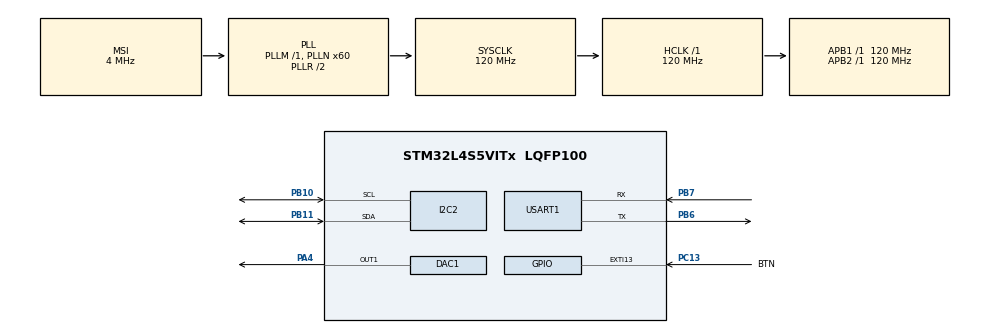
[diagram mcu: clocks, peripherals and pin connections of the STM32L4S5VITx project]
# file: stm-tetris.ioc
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DAC1.DAC_Trigger-DAC_OUT1=DAC_TRIGGER_T2_TRGO
Dma.DAC1_CH1.0.Direction=DMA_MEMORY_TO_PERIPH
Dma.DAC1_CH1.0.EventEnable=DISABLE
Dma.DAC1_CH1.0.Instance=DMA1_Channel1
Dma.DAC1_CH1.0.MemDataAlignment=DMA_MDATAALIGN_HALFWORD
Dma.DAC1_CH1.0.MemInc=DMA_MINC_ENABLE
Dma.DAC1_CH1.0.Mode=DMA_CIRCULAR
Dma.DAC1_CH1.0.PeriphDataAlignment=DMA_PDATAALIGN_HALFWORD
Dma.DAC1_CH1.0.PeriphInc=DMA_PINC_DISABLE
Dma.DAC1_CH1.0.Polarity=HAL_DMAMUX_REQUEST_GEN_RISING
Dma.DAC1_CH1.0.Priority=DMA_PRIORITY_LOW
Dma.DAC1_CH1.0.RequestNumber=1
Dma.DAC1_CH1.0.SignalID=NONE
Dma.DAC1_CH1.0.SyncEnable=DISABLE
Dma.DAC1_CH1.0.SyncPolarity=HAL_DMAMUX_SYNC_NO_EVENT
Dma.DAC1_CH1.0.SyncRequestNumber=1
Dma.DAC1_CH1.0.SyncSignalID=NONE
Dma.Request0=DAC1_CH1
FREERTOS.INCLUDE_vTaskDelayUntil=1
FREERTOS.configTOTAL_HEAP_SIZE=8192
FREERTOS.Mutexes01=gameStateMutex,Dynamic,NULL,Available
FREERTOS.Queues01=inputQueue,16,uint32_t,0,Dynamic,NULL,NULL;audioQueue,8,uint32_t,0,Dynamic,NULL,NULL
FREERTOS.Tasks01=gameStateTask,1,128,StartGameStateTask,Default,NULL,Dynamic,NULL,NULL;playAudioTask,-1,128,StartPlayAudioTask,Default,NULL,Dynamic,NULL,NULL;drawGridTask,0,128,StartDrawGridTask,Default,NULL,Dynamic,NULL,NULL;pollAcceleroTas,0,128,StartPollAcceleroTask,Default,NULL,Dynamic,NULL,NULL
FREERTOS.configUSE_NEWLIB_REENTRANT=1
I2C2.Timing=0x30A175AB
Mcu.Family=STM32L4
Mcu.Name=STM32L4S5VITx
Mcu.Package=LQFP100
NVIC.DMA1_Channel1_IRQn=true\:5\:0\:false\:false\:true\:true\:false\:true\:true
NVIC.EXTI15_10_IRQn=true\:5\:0\:false\:false\:true\:true\:true\:true\:true
NVIC.PriorityGroup=NVIC_PRIORITYGROUP_4
NVIC.TIM7_IRQn=true\:15\:0\:false\:false\:true\:false\:false\:true\:true
NVIC.TimeBase=TIM7_IRQn
NVIC.TimeBaseIP=TIM7
PA4.Signal=COMP_DAC11_group
PB10.Mode=I2C
PB10.Signal=I2C2_SCL
PB11.Mode=I2C
PB11.Signal=I2C2_SDA
PB6.Mode=Asynchronous
PB6.Signal=USART1_TX
PB7.Mode=Asynchronous
PB7.Signal=USART1_RX
PC13.GPIO_Label=BTN
PC13.Signal=GPXTI13
ProjectManager.HeapSize=0x200
ProjectManager.StackSize=0x400
ProjectManager.TargetToolchain=STM32CubeIDE
RCC.ADCFreq_Value=48000000
RCC.AHBFreq_Value=120000000
RCC.APB1Freq_Value=120000000
RCC.APB1TimFreq_Value=120000000
RCC.APB2Freq_Value=120000000
RCC.APB2TimFreq_Value=120000000
RCC.CortexFreq_Value=120000000
RCC.HCLKFreq_Value=120000000
RCC.HSE_VALUE=8000000
RCC.HSI48_VALUE=48000000
RCC.HSI_VALUE=16000000
RCC.LSE_VALUE=32768
RCC.MSI_VALUE=4000000
RCC.PLLN=60
RCC.PLLSAI1N=24
RCC.SYSCLKFreq_VALUE=120000000
RCC.SYSCLKSource=RCC_SYSCLKSOURCE_PLLCLK
RCC.USBFreq_Value=48000000
RCC.VCOOutputFreq_Value=240000000
SH.COMP_DAC11_group.0=DAC1_OUT1,DAC_OUT1
TIM2.Period=2720
TIM2.TIM_MasterOutputTrigger=TIM_TRGO_UPDATE
USART1.VirtualMode-Asynchronous=VM_ASYNC
VP_FREERTOS_VS_CMSIS_V1.Mode=CMSIS_V1
VP_SYS_VS_tim7.Mode=TIM7
VP_TIM2_VS_ClockSourceINT.Mode=Internal
board=B-L4S5I-IOT01A

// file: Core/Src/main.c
/* USER CODE BEGIN Header */
/**
  ******************************************************************************
  * @file           : main.c
  * @brief          : Main program body
  ******************************************************************************
  * @attention
  *
  * Copyright (c) 2026 STMicroelectronics.
  * All rights reserved.
  *
  * This software is licensed under terms that can be found in the LICENSE file
  * in the root directory of this software component.
  * If no LICENSE file comes with this software, it is provided AS-IS.
  *
  ******************************************************************************
  */
/* USER CODE END Header */
#include "main.h"
#include "cmsis_os.h"

/* USER CODE BEGIN Includes */
#include "audio.h"
#include "stm32l4s5i_iot01_accelero.h"
#include "tetris.h"

/* USER CODE END Includes */

/* USER CODE BEGIN PTD */
typedef struct {
  uint32_t held_move;
  uint32_t last_move_ms;
  uint32_t repeat_delay_ms;
} TiltRepeat;

/* USER CODE END PTD */

/* USER CODE BEGIN PD */
#define INPUT_BUTTON 1
#define INPUT_LEFT 2
#define INPUT_RIGHT 3
#define INPUT_DOWN 4

#define ACCELERO_POLL_MS 200
#define ACCELERO_CALIBRATION_SAMPLES 10
// X is lateral; change the axis or sign to match the board's held orientation.
#define ACCELERO_LATERAL_AXIS 0
#define ACCELERO_AXIS_SIGN 1
// Y is perpendicular to lateral X; negative tilt requests soft drop.
#define ACCELERO_DROP_AXIS 1
#define ACCELERO_DROP_SIGN -1
#define ACCELERO_DEAD_ZONE_MG 150
#define ACCELERO_RELEASE_ZONE_MG 100
#define INPUT_INITIAL_REPEAT_MS 1000
#define INPUT_REPEAT_MS 750
#define DRAW_READY 1

/* USER CODE END PD */

DAC_HandleTypeDef hdac1;
DMA_HandleTypeDef hdma_dac1_ch1;

I2C_HandleTypeDef hi2c2;

TIM_HandleTypeDef htim2;

UART_HandleTypeDef huart1;

osThreadId gameStateTaskHandle;
osThreadId playAudioTaskHandle;
osThreadId drawGridTaskHandle;
osThreadId pollAcceleroTasHandle;
osMessageQId inputQueueHandle;
osMessageQId audioQueueHandle;
osMutexId gameStateMutexHandle;
/* USER CODE BEGIN PV */
static const uint32_t GAME_TICK_MS = 1000U;
static const uint32_t GAME_TICK_MIN_MS = 200U;
static const uint32_t GAME_TICK_STEP_MS = 100U;
static const uint32_t SCORE_PER_SPEEDUP = 1000U;
static GameState game_state;

/* USER CODE END PV */

void SystemClock_Config(void);
static void MX_GPIO_Init(void);
static void MX_DMA_Init(void);
static void MX_DAC1_Init(void);
static void MX_TIM2_Init(void);
static void MX_USART1_UART_Init(void);
static void MX_I2C2_Init(void);
void StartGameStateTask(void const * argument);
void StartPlayAudioTask(void const * argument);
void StartDrawGridTask(void const * argument);
void StartPollAcceleroTask(void const * argument);

/* USER CODE BEGIN 0 */
static void queue_tilt_move(TiltRepeat *repeat, uint32_t move, uint32_t now)
{
  if (move != repeat->held_move) {
    repeat->held_move = move;
    repeat->repeat_delay_ms = INPUT_INITIAL_REPEAT_MS;
    repeat->last_move_ms = now;
    if (move) {
      (void)osMessagePut(inputQueueHandle, move, 0);
    }
  } else if (move && (uint32_t)(now - repeat->last_move_ms) >= repeat->repeat_delay_ms) {
    (void)osMessagePut(inputQueueHandle, move, 0);
    repeat->last_move_ms = now;
    repeat->repeat_delay_ms = INPUT_REPEAT_MS;
  }
}

/* USER CODE END 0 */

int main(void)
{

  /* MCU Configuration--------------------------------------------------------*/

  /* Reset of all peripherals, Initializes the Flash interface and the Systick. */
  HAL_Init();

  /* Configure the system clock */
  SystemClock_Config();

  /* Initialize all configured peripherals */
  MX_GPIO_Init();
  MX_DMA_Init();
  MX_DAC1_Init();
  MX_TIM2_Init();
  MX_USART1_UART_Init();
  MX_I2C2_Init();
  /* USER CODE BEGIN 2 */
  if (BSP_ACCELERO_Init() != ACCELERO_OK) {
    Error_Handler();
  }
  if (audio_init() != 0) {
      Error_Handler();
  }
  if (init_game_state(&game_state) != 0) {
     Error_Handler();
   }

  /* USER CODE END 2 */

  /* Create the mutex(es) */
  /* definition and creation of gameStateMutex */
  osMutexDef(gameStateMutex);
  gameStateMutexHandle = osMutexCreate(osMutex(gameStateMutex));

  /* USER CODE BEGIN RTOS_MUTEX */
  if (gameStateMutexHandle == NULL) {
    Error_Handler();
  }
  /* add mutexes, ... */
  /* USER CODE END RTOS_MUTEX */

  /* Create the queue(s) */
  /* definition and creation of inputQueue */
  osMessageQDef(inputQueue, 16, uint32_t);
  inputQueueHandle = osMessageCreate(osMessageQ(inputQueue), NULL);

  /* definition and creation of audioQueue */
  osMessageQDef(audioQueue, 8, uint32_t);
  audioQueueHandle = osMessageCreate(osMessageQ(audioQueue), NULL);

  /* USER CODE BEGIN RTOS_QUEUES */
  if (inputQueueHandle == NULL || audioQueueHandle == NULL) {
    Error_Handler();
  }
  /* add queues, ... */
  /* USER CODE END RTOS_QUEUES */

  /* Create the thread(s) */
  /* definition and creation of gameStateTask */
  osThreadDef(gameStateTask, StartGameStateTask, osPriorityAboveNormal, 0, 128);
  gameStateTaskHandle = osThreadCreate(osThread(gameStateTask), NULL);

  /* definition and creation of playAudioTask */
  osThreadDef(playAudioTask, StartPlayAudioTask, osPriorityBelowNormal, 0, 128);
  playAudioTaskHandle = osThreadCreate(osThread(playAudioTask), NULL);

  /* definition and creation of drawGridTask */
  osThreadDef(drawGridTask, StartDrawGridTask, osPriorityNormal, 0, 128);
  drawGridTaskHandle = osThreadCreate(osThread(drawGridTask), NULL);

  /* definition and creation of pollAcceleroTas */
  osThreadDef(pollAcceleroTas, StartPollAcceleroTask, osPriorityNormal, 0, 128);
  pollAcceleroTasHandle = osThreadCreate(osThread(pollAcceleroTas), NULL);

  /* USER CODE BEGIN RTOS_THREADS */
  if (gameStateTaskHandle == NULL || playAudioTaskHandle == NULL
      || drawGridTaskHandle == NULL || pollAcceleroTasHandle == NULL) {
    Error_Handler();
  }
  /* add threads, ... */
  /* USER CODE END RTOS_THREADS */

  /* Start scheduler */
  osKernelStart();

  /* We should never get here as control is now taken by the scheduler */

  /* Infinite loop */
  while (1)
  {

  }
}

void SystemClock_Config(void)
{
  RCC_OscInitTypeDef RCC_OscInitStruct = {0};
  RCC_ClkInitTypeDef RCC_ClkInitStruct = {0};

  /** Configure the main internal regulator output voltage
  */
  if (HAL_PWREx_ControlVoltageScaling(PWR_REGULATOR_VOLTAGE_SCALE1_BOOST) != HAL_OK)
  {
    Error_Handler();
  }

  /** Initializes the RCC Oscillators according to the specified parameters
  * in the RCC_OscInitTypeDef structure.
  */
  RCC_OscInitStruct.OscillatorType = RCC_OSCILLATORTYPE_MSI;
  RCC_OscInitStruct.MSIState = RCC_MSI_ON;
  RCC_OscInitStruct.MSICalibrationValue = 0;
  RCC_OscInitStruct.MSIClockRange = RCC_MSIRANGE_6;
  RCC_OscInitStruct.PLL.PLLState = RCC_PLL_ON;
  RCC_OscInitStruct.PLL.PLLSource = RCC_PLLSOURCE_MSI;
  RCC_OscInitStruct.PLL.PLLM = 1;
  RCC_OscInitStruct.PLL.PLLN = 60;
  RCC_OscInitStruct.PLL.PLLP = RCC_PLLP_DIV2;
  RCC_OscInitStruct.PLL.PLLQ = RCC_PLLQ_DIV2;
  RCC_OscInitStruct.PLL.PLLR = RCC_PLLR_DIV2;
  if (HAL_RCC_OscConfig(&RCC_OscInitStruct) != HAL_OK)
  {
    Error_Handler();
  }

  /** Initializes the CPU, AHB and APB buses clocks
  */
  RCC_ClkInitStruct.ClockType = RCC_CLOCKTYPE_HCLK|RCC_CLOCKTYPE_SYSCLK
                              |RCC_CLOCKTYPE_PCLK1|RCC_CLOCKTYPE_PCLK2;
  RCC_ClkInitStruct.SYSCLKSource = RCC_SYSCLKSOURCE_PLLCLK;
  RCC_ClkInitStruct.AHBCLKDivider = RCC_SYSCLK_DIV1;
  RCC_ClkInitStruct.APB1CLKDivider = RCC_HCLK_DIV1;
  RCC_ClkInitStruct.APB2CLKDivider = RCC_HCLK_DIV1;

  if (HAL_RCC_ClockConfig(&RCC_ClkInitStruct, FLASH_LATENCY_5) != HAL_OK)
  {
    Error_Handler();
  }
}

static void MX_DAC1_Init(void)
{

  DAC_ChannelConfTypeDef sConfig = {0};

  /** DAC Initialization
  */
  hdac1.Instance = DAC1;
  if (HAL_DAC_Init(&hdac1) != HAL_OK)
  {
    Error_Handler();
  }

  /** DAC channel OUT1 config
  */
  sConfig.DAC_SampleAndHold = DAC_SAMPLEANDHOLD_DISABLE;
  sConfig.DAC_Trigger = DAC_TRIGGER_T2_TRGO;
  sConfig.DAC_HighFrequency = DAC_HIGH_FREQUENCY_INTERFACE_MODE_ABOVE_80MHZ;
  sConfig.DAC_OutputBuffer = DAC_OUTPUTBUFFER_ENABLE;
  sConfig.DAC_ConnectOnChipPeripheral = DAC_CHIPCONNECT_DISABLE;
  sConfig.DAC_UserTrimming = DAC_TRIMMING_FACTORY;
  if (HAL_DAC_ConfigChannel(&hdac1, &sConfig, DAC_CHANNEL_1) != HAL_OK)
  {
    Error_Handler();
  }

}

static void MX_I2C2_Init(void)
{

  hi2c2.Instance = I2C2;
  hi2c2.Init.Timing = 0x30A175AB;
  hi2c2.Init.OwnAddress1 = 0;
  hi2c2.Init.AddressingMode = I2C_ADDRESSINGMODE_7BIT;
  hi2c2.Init.DualAddressMode = I2C_DUALADDRESS_DISABLE;
  hi2c2.Init.OwnAddress2 = 0;
  hi2c2.Init.OwnAddress2Masks = I2C_OA2_NOMASK;
  hi2c2.Init.GeneralCallMode = I2C_GENERALCALL_DISABLE;
  hi2c2.Init.NoStretchMode = I2C_NOSTRETCH_DISABLE;
  if (HAL_I2C_Init(&hi2c2) != HAL_OK)
  {
    Error_Handler();
  }

  /** Configure Analogue filter
  */
  if (HAL_I2CEx_ConfigAnalogFilter(&hi2c2, I2C_ANALOGFILTER_ENABLE) != HAL_OK)
  {
    Error_Handler();
  }

  /** Configure Digital filter
  */
  if (HAL_I2CEx_ConfigDigitalFilter(&hi2c2, 0) != HAL_OK)
  {
    Error_Handler();
  }

}

static void MX_TIM2_Init(void)
{

  TIM_ClockConfigTypeDef sClockSourceConfig = {0};
  TIM_MasterConfigTypeDef sMasterConfig = {0};

  htim2.Instance = TIM2;
  htim2.Init.Prescaler = 0;
  htim2.Init.CounterMode = TIM_COUNTERMODE_UP;
  htim2.Init.Period = 2720;
  htim2.Init.ClockDivision = TIM_CLOCKDIVISION_DIV1;
  htim2.Init.AutoReloadPreload = TIM_AUTORELOAD_PRELOAD_DISABLE;
  if (HAL_TIM_Base_Init(&htim2) != HAL_OK)
  {
    Error_Handler();
  }
  sClockSourceConfig.ClockSource = TIM_CLOCKSOURCE_INTERNAL;
  if (HAL_TIM_ConfigClockSource(&htim2, &sClockSourceConfig) != HAL_OK)
  {
    Error_Handler();
  }
  sMasterConfig.MasterOutputTrigger = TIM_TRGO_UPDATE;
  sMasterConfig.MasterSlaveMode = TIM_MASTERSLAVEMODE_DISABLE;
  if (HAL_TIMEx_MasterConfigSynchronization(&htim2, &sMasterConfig) != HAL_OK)
  {
    Error_Handler();
  }

}

static void MX_USART1_UART_Init(void)
{

  huart1.Instance = USART1;
  huart1.Init.BaudRate = 115200;
  huart1.Init.WordLength = UART_WORDLENGTH_8B;
  huart1.Init.StopBits = UART_STOPBITS_1;
  huart1.Init.Parity = UART_PARITY_NONE;
  huart1.Init.Mode = UART_MODE_TX_RX;
  huart1.Init.HwFlowCtl = UART_HWCONTROL_NONE;
  huart1.Init.OverSampling = UART_OVERSAMPLING_16;
  huart1.Init.OneBitSampling = UART_ONE_BIT_SAMPLE_DISABLE;
  huart1.Init.ClockPrescaler = UART_PRESCALER_DIV1;
  huart1.AdvancedInit.AdvFeatureInit = UART_ADVFEATURE_NO_INIT;
  if (HAL_UART_Init(&huart1) != HAL_OK)
  {
    Error_Handler();
  }
  if (HAL_UARTEx_SetTxFifoThreshold(&huart1, UART_TXFIFO_THRESHOLD_1_8) != HAL_OK)
  {
    Error_Handler();
  }
  if (HAL_UARTEx_SetRxFifoThreshold(&huart1, UART_RXFIFO_THRESHOLD_1_8) != HAL_OK)
  {
    Error_Handler();
  }
  if (HAL_UARTEx_DisableFifoMode(&huart1) != HAL_OK)
  {
    Error_Handler();
  }

}

static void MX_DMA_Init(void)
{

  /* DMA controller clock enable */
  __HAL_RCC_DMAMUX1_CLK_ENABLE();
  __HAL_RCC_DMA1_CLK_ENABLE();

  /* DMA interrupt init */
  /* DMA1_Channel1_IRQn interrupt configuration */
  HAL_NVIC_SetPriority(DMA1_Channel1_IRQn, 5, 0);
  HAL_NVIC_EnableIRQ(DMA1_Channel1_IRQn);

}

static void MX_GPIO_Init(void)
{
  GPIO_InitTypeDef GPIO_InitStruct = {0};

  /* GPIO Ports Clock Enable */
  __HAL_RCC_GPIOC_CLK_ENABLE();
  __HAL_RCC_GPIOA_CLK_ENABLE();
  __HAL_RCC_GPIOB_CLK_ENABLE();

  /*Configure GPIO pin : BTN_Pin */
  GPIO_InitStruct.Pin = BTN_Pin;
  GPIO_InitStruct.Mode = GPIO_MODE_IT_RISING;
  GPIO_InitStruct.Pull = GPIO_NOPULL;
  HAL_GPIO_Init(BTN_GPIO_Port, &GPIO_InitStruct);

  /* EXTI interrupt init*/
  HAL_NVIC_SetPriority(EXTI15_10_IRQn, 5, 0);
  HAL_NVIC_EnableIRQ(EXTI15_10_IRQn);

}

/* USER CODE BEGIN 4 */
void HAL_GPIO_EXTI_Callback(uint16_t GPIO_Pin)
{
  static uint32_t last_press_ms = 0;
  static uint8_t button_seen = 0;

  if (GPIO_Pin != BTN_Pin || inputQueueHandle == NULL || !osKernelRunning()) {
    return;
  }

  uint32_t now = HAL_GetTick();
  if (!button_seen || (uint32_t)(now - last_press_ms) >= 50U) {
    last_press_ms = now;
    button_seen = 1;
    // ISR-safe, nonblocking: ignore the press if the queue is full.
    (void)osMessagePut(inputQueueHandle, INPUT_BUTTON, 0);
  }
}

/* USER CODE END 4 */

void StartGameStateTask(void const * argument)
{
  /* USER CODE BEGIN 5 */
  uint32_t last_update_ms = HAL_GetTick();
  uint8_t redraw = 1;
  uint32_t pending_audio = AUDIO_START;

  /* Infinite loop */
  for(;;)
  {
    osDelay(10);

    if (osMutexWait(gameStateMutexHandle, osWaitForever) != osOK) {
      Error_Handler();
    }

    uint32_t previous_lines = game_state.lines_cleared;
    bool was_game_over = game_state.game_over;

    // apply queued input in this task so interrupts never modify the board
    osEvent event = osMessageGet(inputQueueHandle, 0);
    while (event.status == osEventMessage) {
      int status = 0;
      switch (event.value.v) {
        case INPUT_BUTTON:
          if (game_state.game_over) {
            status = init_game_state(&game_state);
            last_update_ms = HAL_GetTick();
            previous_lines = game_state.lines_cleared;
            was_game_over = game_state.game_over;
            pending_audio = AUDIO_START;
          } else {
            status = rotate_piece(&game_state);
          }
          break;
        case INPUT_LEFT: status = move_piece(&game_state, -1); break;
        case INPUT_RIGHT: status = move_piece(&game_state, 1); break;
        case INPUT_DOWN: status = update_game_state(&game_state); break;
        default: break;
      }
      if (status == -1) {
        Error_Handler();
      }
      redraw = 1;
      event = osMessageGet(inputQueueHandle, 0);
    }

    // speed up game tick w score
    // clamp at min of 200 ms
    const uint32_t speedup_ms = (game_state.score / SCORE_PER_SPEEDUP) * GAME_TICK_STEP_MS;
    const uint32_t tick_ms = speedup_ms >= GAME_TICK_MS - GAME_TICK_MIN_MS
        ? GAME_TICK_MIN_MS : GAME_TICK_MS - speedup_ms;
    uint32_t now = HAL_GetTick();
    if ((uint32_t)(now - last_update_ms) >= tick_ms) {
      last_update_ms = now;
      if (update_game_state(&game_state) == -1) {
        Error_Handler();
      }
      redraw = 1;
    }

    // both gravity and queued soft drops can lock pieces and trigger audio.
    if (game_state.lines_cleared != previous_lines) {
      pending_audio |= AUDIO_LINE_CLEAR;
    }
    if (!was_game_over && game_state.game_over) {
      pending_audio |= AUDIO_GAME_OVER;
    }

    if (osMutexRelease(gameStateMutexHandle) != osOK) {
      Error_Handler();
    }

    // Send outside the state mutex; retry next loop if the queue is full.
    if (pending_audio && osMessagePut(audioQueueHandle, pending_audio, 0) == osOK) {
      pending_audio = 0;
    }

    if (redraw) {
      // notify after unlocking -> repeated signals coalesce into one redraw
      if (osSignalSet(drawGridTaskHandle, DRAW_READY) < 0) {
        Error_Handler();
      }
      redraw = 0;
    }
  }
  /* USER CODE END 5 */
}

void StartPlayAudioTask(void const * argument)
{
  /* USER CODE BEGIN StartPlayAudioTask */
  for(;;)
  {
    uint32_t wait_ms = audio_wait_ms(HAL_GetTick());
    osEvent event = osMessageGet(audioQueueHandle, wait_ms);
    uint32_t events = 0;

    // drain in order -> restart discards older sounds & keeps newer events
    while (event.status == osEventMessage) {
      if (event.value.v & AUDIO_START) {
        events = event.value.v;
      } else {
        events |= event.value.v;
      }
      event = osMessageGet(audioQueueHandle, 0);
    }

    if (event.status != osOK && event.status != osEventTimeout) {
      Error_Handler();
    }

    if (events && audio_handle_event(events, HAL_GetTick()) != 0) {
      Error_Handler();
    }

    if (audio_update(HAL_GetTick()) != 0) {
      Error_Handler();
    }
  }
  /* USER CODE END StartPlayAudioTask */
}

void StartDrawGridTask(void const * argument)
{
  /* USER CODE BEGIN StartDrawGridTask */
  // Keep the full snapshot off this task's small stack.
  static GameState snapshot;

  for(;;)
  {
    osEvent event = osSignalWait(DRAW_READY, osWaitForever);
    if (event.status != osEventSignal) {
      Error_Handler();
    }
    if (osMutexWait(gameStateMutexHandle, osWaitForever) != osOK) {
      Error_Handler();
    }
    snapshot = game_state;
    if (osMutexRelease(gameStateMutexHandle) != osOK) {
      Error_Handler();
    }

    if (draw_grid(&snapshot) == -1) {
      Error_Handler();
    }
  }
  /* USER CODE END StartDrawGridTask */
}

void StartPollAcceleroTask(void const * argument)
{
  /* USER CODE BEGIN StartPollAcceleroTask */
  uint32_t last = osKernelSysTick();
  int16_t accel[3];
  int32_t neutral_sum[2] = {0};

  // Hold the board still in its neutral position during startup calibration.
  for (int sample = 0; sample < ACCELERO_CALIBRATION_SAMPLES; ++sample) {
    if (osDelayUntil(&last, ACCELERO_POLL_MS) != osOK) {
      Error_Handler();
    }
    BSP_ACCELERO_AccGetXYZ(accel);
    neutral_sum[0] += accel[ACCELERO_LATERAL_AXIS];
    neutral_sum[1] += accel[ACCELERO_DROP_AXIS];
  }
  const int32_t lateral_neutral = neutral_sum[0] / ACCELERO_CALIBRATION_SAMPLES;
  const int32_t drop_neutral = neutral_sum[1] / ACCELERO_CALIBRATION_SAMPLES;
  TiltRepeat lateral_repeat = {0};
  TiltRepeat drop_repeat = {0};

  for(;;)
  {
    if (osDelayUntil(&last, ACCELERO_POLL_MS) != osOK) {
      Error_Handler();
    }
    BSP_ACCELERO_AccGetXYZ(accel);
    const int32_t tilt = ACCELERO_AXIS_SIGN * (accel[ACCELERO_LATERAL_AXIS] - lateral_neutral);
    const int32_t drop_tilt = ACCELERO_DROP_SIGN * (accel[ACCELERO_DROP_AXIS] - drop_neutral);

    uint32_t move = 0;
    if (tilt <= -ACCELERO_DEAD_ZONE_MG) {
      move = INPUT_LEFT;
    } else if (tilt >= ACCELERO_DEAD_ZONE_MG) {
      move = INPUT_RIGHT;
    } else if (lateral_repeat.held_move == INPUT_LEFT && tilt < -ACCELERO_RELEASE_ZONE_MG) {
      move = INPUT_LEFT;
    } else if (lateral_repeat.held_move == INPUT_RIGHT && tilt > ACCELERO_RELEASE_ZONE_MG) {
      move = INPUT_RIGHT;
    }

    uint32_t drop_move = 0;
    if (drop_tilt >= ACCELERO_DEAD_ZONE_MG
        || (drop_repeat.held_move == INPUT_DOWN && drop_tilt > ACCELERO_RELEASE_ZONE_MG)) {
      drop_move = INPUT_DOWN;
    }

    uint32_t now = HAL_GetTick();
    queue_tilt_move(&lateral_repeat, move, now);
    queue_tilt_move(&drop_repeat, drop_move, now);
  }
  /* USER CODE END StartPollAcceleroTask */
}

void HAL_TIM_PeriodElapsedCallback(TIM_HandleTypeDef *htim)
{
  if (htim->Instance == TIM7)
  {
    HAL_IncTick();
  }
}

void Error_Handler(void)
{
  __disable_irq();
  while (1)
  {
  }
}
